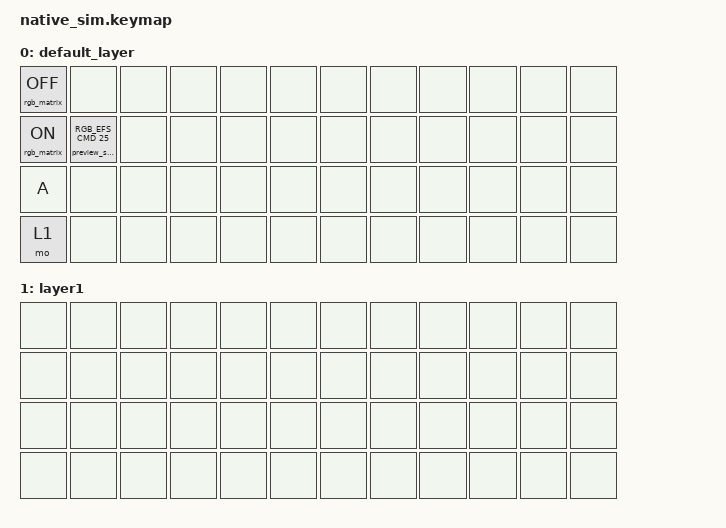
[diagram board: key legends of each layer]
/*
 * Copyright (c) 2026 The ZMK Contributors
 *
 * SPDX-License-Identifier: MIT
 *
 * Smoke-test keymap: drives the module through its real behavior path. 4x12 to
 * match the shared fixture's transform; only the scripted positions do anything
 * (see tests/sim/config-smoke/native_sim.overlay).
 */

#include <behaviors.dtsi>
#include <dt-bindings/keypaw/rgb_matrix.h>
#include <dt-bindings/zmk/keys.h>

/ {
    keymap {
        compatible = "zmk,keymap";

        default_layer {
            bindings = <
                &rgb_matrix RGB_OFF &none &none &none &none &none &none &none &none &none &none &none
                &rgb_matrix RGB_ON &preview_selector RGB_EFS_CMD 25 &none &none &none &none &none &none &none &none &none &none
                &kp A &none &none &none &none &none &none &none &none &none &none &none
                &mo 1 &none &none &none &none &none &none &none &none &none &none &none
            >;
        };

        layer1 {
            bindings = <
                &none &none &none &none &none &none &none &none &none &none &none &none
                &none &none &none &none &none &none &none &none &none &none &none &none
                &none &none &none &none &none &none &none &none &none &none &none &none
                &none &none &none &none &none &none &none &none &none &none &none &none
            >;
        };
    };
};
